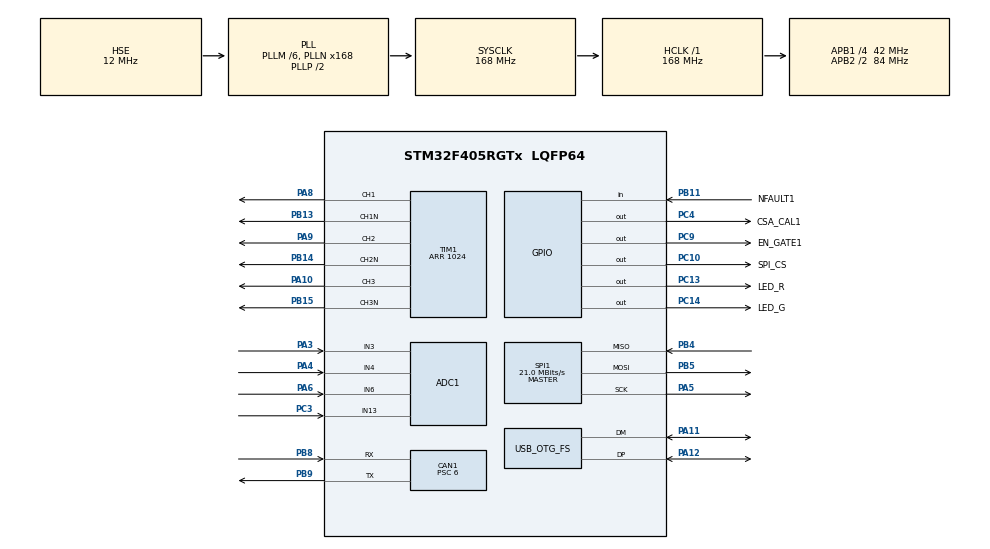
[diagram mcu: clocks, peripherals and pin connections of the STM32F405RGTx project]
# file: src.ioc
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ADC1.Channel-0\#ChannelRegularConversion=ADC_CHANNEL_13
ADC1.Channel-1\#ChannelInjectedConversion=ADC_CHANNEL_13
ADC1.Channel-2\#ChannelInjectedConversion=ADC_CHANNEL_3
ADC1.Channel-3\#ChannelInjectedConversion=ADC_CHANNEL_4
ADC1.Channel-4\#ChannelInjectedConversion=ADC_CHANNEL_6
ADC1.ExternalTrigInjecConv=ADC_EXTERNALTRIGINJECCONV_T1_CC4
ADC1.ExternalTrigInjecConvEdge=ADC_EXTERNALTRIGINJECCONVEDGE_FALLING
ADC1.InjNumberOfConversion=4
ADC1.InjectedOffset-1\#ChannelInjectedConversion=0
ADC1.InjectedOffset-2\#ChannelInjectedConversion=0
ADC1.InjectedOffset-3\#ChannelInjectedConversion=0
ADC1.InjectedOffset-4\#ChannelInjectedConversion=0
ADC1.InjectedRank-1\#ChannelInjectedConversion=1
ADC1.InjectedRank-2\#ChannelInjectedConversion=2
ADC1.InjectedRank-3\#ChannelInjectedConversion=3
ADC1.InjectedRank-4\#ChannelInjectedConversion=4
ADC1.NbrOfConversionFlag=1
ADC1.Rank-0\#ChannelRegularConversion=1
ADC1.SamplingTime-0\#ChannelRegularConversion=ADC_SAMPLETIME_3CYCLES
ADC1.SamplingTime-1\#ChannelInjectedConversion=ADC_SAMPLETIME_28CYCLES
ADC1.SamplingTime-2\#ChannelInjectedConversion=ADC_SAMPLETIME_28CYCLES
ADC1.SamplingTime-3\#ChannelInjectedConversion=ADC_SAMPLETIME_28CYCLES
ADC1.SamplingTime-4\#ChannelInjectedConversion=ADC_SAMPLETIME_28CYCLES
ADC1.ScanConvMode=ENABLE
ADC1.master=1
CAN1.BS1=CAN_BS1_8TQ
CAN1.BS2=CAN_BS2_5TQ
CAN1.CalculateBaudRate=500000
CAN1.CalculateTimeBit=2000
CAN1.CalculateTimeQuantum=142.85714285714286
CAN1.NART=ENABLE
CAN1.Prescaler=6
CAN1.SJW=CAN_SJW_2TQ
Dma.Request0=SPI1_TX
Dma.Request1=SPI1_RX
Dma.SPI1_RX.1.Direction=DMA_PERIPH_TO_MEMORY
Dma.SPI1_RX.1.FIFOMode=DMA_FIFOMODE_DISABLE
Dma.SPI1_RX.1.Instance=DMA2_Stream0
Dma.SPI1_RX.1.MemDataAlignment=DMA_MDATAALIGN_BYTE
Dma.SPI1_RX.1.MemInc=DMA_MINC_ENABLE
Dma.SPI1_RX.1.Mode=DMA_NORMAL
Dma.SPI1_RX.1.PeriphDataAlignment=DMA_PDATAALIGN_BYTE
Dma.SPI1_RX.1.PeriphInc=DMA_PINC_DISABLE
Dma.SPI1_RX.1.Priority=DMA_PRIORITY_HIGH
Dma.SPI1_TX.0.Direction=DMA_MEMORY_TO_PERIPH
Dma.SPI1_TX.0.FIFOMode=DMA_FIFOMODE_DISABLE
Dma.SPI1_TX.0.Instance=DMA2_Stream3
Dma.SPI1_TX.0.MemDataAlignment=DMA_MDATAALIGN_BYTE
Dma.SPI1_TX.0.MemInc=DMA_MINC_ENABLE
Dma.SPI1_TX.0.Mode=DMA_NORMAL
Dma.SPI1_TX.0.PeriphDataAlignment=DMA_PDATAALIGN_BYTE
Dma.SPI1_TX.0.PeriphInc=DMA_PINC_DISABLE
Dma.SPI1_TX.0.Priority=DMA_PRIORITY_HIGH
Mcu.Family=STM32F4
Mcu.Name=STM32F405RGTx
Mcu.Package=LQFP64
NVIC.ADC_IRQn=true\:0\:0\:false\:false\:true\:true\:true\:true
NVIC.CAN1_RX0_IRQn=true\:2\:0\:true\:false\:true\:true\:true\:true
NVIC.CAN1_RX1_IRQn=true\:2\:0\:true\:false\:true\:true\:true\:true
NVIC.DMA2_Stream0_IRQn=true\:0\:0\:false\:false\:true\:false\:true\:true
NVIC.DMA2_Stream3_IRQn=true\:0\:0\:false\:false\:true\:false\:true\:true
NVIC.OTG_FS_IRQn=true\:0\:0\:false\:false\:true\:false\:true\:true
NVIC.PriorityGroup=NVIC_PRIORITYGROUP_4
NVIC.SPI1_IRQn=true\:1\:0\:true\:false\:true\:true\:true\:true
PA10.Signal=S_TIM1_CH3
PA11.Mode=Device_Only
PA11.Signal=USB_OTG_FS_DM
PA12.Mode=Device_Only
PA12.Signal=USB_OTG_FS_DP
PA13.Mode=Serial_Wire
PA13.Signal=SYS_JTMS-SWDIO
PA14.Mode=Serial_Wire
PA14.Signal=SYS_JTCK-SWCLK
PA3.Signal=ADCx_IN3
PA4.Signal=ADCx_IN4
PA5.Mode=Full_Duplex_Master
PA5.Signal=SPI1_SCK
PA6.Signal=ADCx_IN6
PA8.Signal=S_TIM1_CH1
PA9.Signal=S_TIM1_CH2
PB11.GPIO_Label=NFAULT1
PB11.Signal=GPIO_Input
PB13.Mode=PWM Generation1 CH1 CH1N
PB13.Signal=TIM1_CH1N
PB14.Mode=PWM Generation2 CH2 CH2N
PB14.Signal=TIM1_CH2N
PB15.Mode=PWM Generation3 CH3 CH3N
PB15.Signal=TIM1_CH3N
PB4.Mode=Full_Duplex_Master
PB4.Signal=SPI1_MISO
PB5.Mode=Full_Duplex_Master
PB5.Signal=SPI1_MOSI
PB8.GPIO_PuPd=GPIO_PULLUP
PB8.Mode=CAN_Activate
PB8.Signal=CAN1_RX
PB9.Mode=CAN_Activate
PB9.Signal=CAN1_TX
PC10.GPIO_Label=SPI_CS
PC10.Signal=GPIO_Output
PC13-ANTI_TAMP.GPIO_Label=LED_R
PC13-ANTI_TAMP.Signal=GPIO_Output
PC14-OSC32_IN.GPIO_Label=LED_G
PC14-OSC32_IN.Signal=GPIO_Output
PC3.Signal=ADCx_IN13
PC4.GPIO_Label=CSA_CAL1
PC4.Signal=GPIO_Output
PC9.GPIO_Label=EN_GATE1
PC9.Signal=GPIO_Output
PH0-OSC_IN.Mode=HSE-External-Oscillator
PH0-OSC_IN.Signal=RCC_OSC_IN
PH1-OSC_OUT.Mode=HSE-External-Oscillator
PH1-OSC_OUT.Signal=RCC_OSC_OUT
ProjectManager.HeapSize=0x200
ProjectManager.StackSize=0x400
ProjectManager.TargetToolchain=EWARM V8.50
RCC.48MHZClocksFreq_Value=48000000
RCC.AHBFreq_Value=168000000
RCC.APB1CLKDivider=RCC_HCLK_DIV4
RCC.APB1Freq_Value=42000000
RCC.APB1TimFreq_Value=84000000
RCC.APB2CLKDivider=RCC_HCLK_DIV2
RCC.APB2Freq_Value=84000000
RCC.APB2TimFreq_Value=168000000
RCC.CortexFreq_Value=168000000
RCC.HCLKFreq_Value=168000000
RCC.HSE_VALUE=12000000
RCC.HSI_VALUE=16000000
RCC.LSE_VALUE=32768
RCC.PLLM=6
RCC.PLLN=168
RCC.PLLQ=7
RCC.SYSCLKFreq_VALUE=168000000
RCC.SYSCLKSource=RCC_SYSCLKSOURCE_PLLCLK
RCC.VCOOutputFreq_Value=336000000
SH.ADCx_IN13.0=ADC1_IN13,IN13
SH.ADCx_IN3.0=ADC1_IN3,IN3
SH.ADCx_IN4.0=ADC1_IN4,IN4
SH.ADCx_IN6.0=ADC1_IN6,IN6
SH.S_TIM1_CH1.0=TIM1_CH1,PWM Generation1 CH1 CH1N
SH.S_TIM1_CH2.0=TIM1_CH2,PWM Generation2 CH2 CH2N
SH.S_TIM1_CH3.0=TIM1_CH3,PWM Generation3 CH3 CH3N
SPI1.BaudRatePrescaler=SPI_BAUDRATEPRESCALER_4
SPI1.CLKPhase=SPI_PHASE_2EDGE
SPI1.CalculateBaudRate=21.0 MBits/s
SPI1.Direction=SPI_DIRECTION_2LINES
SPI1.Mode=SPI_MODE_MASTER
SPI1.VirtualType=VM_MASTER
TIM1.AutomaticOutput=TIM_AUTOMATICOUTPUT_ENABLE
TIM1.Channel-PWM\ Generation1\ CH1\ CH1N=TIM_CHANNEL_1
TIM1.Channel-PWM\ Generation2\ CH2\ CH2N=TIM_CHANNEL_2
TIM1.Channel-PWM\ Generation3\ CH3\ CH3N=TIM_CHANNEL_3
TIM1.Channel-PWM\ Generation4\ No\ Output=TIM_CHANNEL_4
TIM1.CounterMode=TIM_COUNTERMODE_CENTERALIGNED1
TIM1.DeadTime=25
TIM1.OCFastMode_PWM-PWM\ Generation1\ CH1\ CH1N=TIM_OCFAST_ENABLE
TIM1.OCFastMode_PWM-PWM\ Generation2\ CH2\ CH2N=TIM_OCFAST_ENABLE
TIM1.OCFastMode_PWM-PWM\ Generation3\ CH3\ CH3N=TIM_OCFAST_ENABLE
TIM1.OCFastMode_PWM-PWM\ Generation4\ No\ Output=TIM_OCFAST_ENABLE
TIM1.OffStateIDLEMode=TIM_OSSI_ENABLE
TIM1.OffStateRunMode=TIM_OSSR_ENABLE
TIM1.Period=1024
TIM1.TIM_MasterOutputTrigger=TIM_TRGO_UPDATE
USB_DEVICE.CLASS_NAME_FS=CDC
USB_DEVICE.VirtualMode-CDC_FS=Cdc
USB_DEVICE.VirtualModeFS=Cdc_FS
USB_OTG_FS.VirtualMode=Device_Only
VP_TIM1_VS_ClockSourceINT.Mode=Internal
VP_TIM1_VS_no_output4.Mode=PWM Generation4 No Output
VP_USB_DEVICE_VS_USB_DEVICE_CDC_FS.Mode=CDC_FS
board=custom

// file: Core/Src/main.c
/* USER CODE BEGIN Header */
/**
  ******************************************************************************
  * @file           : main.c
  * @brief          : Main program body
  ******************************************************************************
  * @attention
  *
  * Copyright (c) 2026 STMicroelectronics.
  * All rights reserved.
  *
  * This software is licensed under terms that can be found in the LICENSE file
  * in the root directory of this software component.
  * If no LICENSE file comes with this software, it is provided AS-IS.
  *
  ******************************************************************************
  */
/* USER CODE END Header */
#include "main.h"
#include "usb_device.h"

/* USER CODE BEGIN Includes */
#include "stm32f405_link.h"
#include "CAN.h"
#include "motor.h"
#include "AS5047P.h"
#include "FOC_utils.h"
#include "self_commissioning.h"
#include "storage.h"
#include "com.h"
#include "string.h"
/* USER CODE END Includes */

/* USER CODE BEGIN PD */

#define usb_print(fmt, ...)                                                 \
  do {                                                                      \
    snprintf(usb_send_buff, sizeof(usb_send_buff), fmt, ##__VA_ARGS__);     \
    CDC_Transmit_FS((uint8_t *)(usb_send_buff), sizeof(usb_send_buff) - 1); \
  } while (0)

/* USER CODE END PD */

/* USER CODE BEGIN PM */
extern uint8_t CDC_Transmit_FS(uint8_t* Buf, uint16_t Len);
/* USER CODE END PM */

ADC_HandleTypeDef hadc1;

CAN_HandleTypeDef hcan1;

SPI_HandleTypeDef hspi1;
DMA_HandleTypeDef hdma_spi1_tx;
DMA_HandleTypeDef hdma_spi1_rx;

TIM_HandleTypeDef htim1;

/* USER CODE BEGIN PV */

AS5047P_t hencd1;
uint32_t adc_buff[4];
foc_t hfoc1;
self_commissioning_t hsc1;
storage_t hstorage1;
com_t husb_com;
com_t hcan_com;
can_protocol_t can_motor;

char usb_send_buff[64];
uint8_t can_send_buff[64];
uint8_t can_recv_buff[64];

/* USER CODE END PV */

void SystemClock_Config(void);
static void MX_GPIO_Init(void);
static void MX_DMA_Init(void);
static void MX_TIM1_Init(void);
static void MX_ADC1_Init(void);
static void MX_SPI1_Init(void);
static void MX_CAN1_Init(void);

/* USER CODE BEGIN 0 */

/**************************************************************************** */
// implementation

void motor1_inverter_enable(void) {
  EN_GATE1_GPIO_Port->BSRR = EN_GATE1_Pin;
  link_enable_pwm(&htim1);
  link_enable_adc(&hadc1);
}

void motor1_inverter_disable(void) {
  EN_GATE1_GPIO_Port->BSRR = EN_GATE1_Pin<<16;
  link_disable_pwm(&htim1);
  link_disable_adc(&hadc1);
}

uint32_t motor1_get_pwm_res(void) {
  return link_get_max_pwm(&htim1);
}

float motor1_as5047p_get_mech_deg(void) {
  return AS5047P_get_degree(&hencd1);
}

int motor1_as5047p_spi_transmit(uint8_t *tx, uint8_t *rx, uint16_t len) {
  if (HAL_SPI_TransmitReceive_DMA(&hspi1, tx, rx, len) == HAL_OK) return 0;
  return -1;
}

void motor1_as5047p_spi_cs(_Bool cs_state) {
  if (cs_state) SPI_CS_GPIO_Port->BSRR = SPI_CS_Pin;
  else SPI_CS_GPIO_Port->BSRR = SPI_CS_Pin<<16;
}

int write_flash(void *data, uint32_t len) {
  return link_write_flash(data, len);
}

int read_flash(void *data, uint32_t len) {
  memcpy(data, (void*)FLASH_SECTOR_ADDR, len);
  return 0;
}

int usb_recv_data(uint8_t *data, uint16_t len) {
  (void)data;
  (void)len;
  return 0;
}

int usb_send_data(uint8_t *data, uint16_t len) {
  if (CDC_Transmit_FS(data, len) != USBD_OK) return -1;
  return 0;
}

int can_recv_data(uint8_t *data, uint16_t len) {
  (void)data;
  (void)len;
  return 0;
}

int can_send_data(uint8_t *data, uint16_t len) {
#if USB_TO_CAN
  return can_motor_start_send_data(&can_motor, 0x02, data, len);
#else
  return can_motor_start_send_data(&can_motor, 0x01, data, len);
#endif
}

/**************************************************************************** */

static void init_motor(void) {
  motor_init_pwm(&hfoc1.motor, &TIM1->CCR1, &TIM1->CCR2, &TIM1->CCR3);
  motor_init_adc_current_sense(&hfoc1.motor, &adc_buff[0], &adc_buff[1], &adc_buff[2]);
  motor_init_adc_power_voltage_sense(&hfoc1.motor, &adc_buff[3]);
  motor_set_current_sense_gain(&hfoc1.motor, (3.3f / 4095.0f) / (0.01f * 20.0f));
  motor_set_power_voltage_sense_gain(&hfoc1.motor, (3.3f / 4095.0f)*((39.0f + 2.2f) / 2.2f));
  motor_init_lpf_power_voltage_sense(&hfoc1.motor, 100, BLDC_PWM_FREQ);
  CSA_CAL1_GPIO_Port->BSRR = CSA_CAL1_Pin << 16;
}

static void init_encoder(void) {
  AS5047P_spi_config(&hencd1, motor1_as5047p_spi_transmit, motor1_as5047p_spi_cs);
  AS5047P_init(&hencd1, SENSOR_DIR_REVERSE, (360.0f / 16383.0f));
  AS5047P_set_angle_filter_fc(&hencd1, 1000.0f, FOC_TS);
  AS5047P_set_rpm_filter_fc(&hencd1, 50.0f, FOC_TS);
}

static void init_foc(void) {
  can_config_t can_config = {
    .init = link_can_init,
    .send_data = link_can_send_data,
    .recv_data = link_can_recv_data,
    .is_mailboxes_free = link_can_is_mailboxes_free,
    .get_tick_ms = HAL_GetTick
  };
  can_motor_init(&can_motor, can_config, can_send_buff, can_recv_buff);
#if USB_TO_CAN
  com_init(&husb_com, usb_recv_data, usb_send_data, HAL_GetTick, &hfoc1, &hstorage1, &hsc1);
  com_init(&hcan_com, can_recv_data, can_send_data, HAL_GetTick, &hfoc1, &hstorage1, &hsc1);
#else
  init_trig_lut();
  link_set_pwm_freq(&htim1, BLDC_PWM_FREQ);
  init_motor();
  init_encoder();
  sc_init(&hsc1, &hfoc1);

  storage_init(&hstorage1, write_flash, read_flash);
  foc_inverter_init(&hfoc1, motor1_inverter_enable, motor1_inverter_disable, motor1_get_pwm_res);
  foc_feedback_sensor_init(&hfoc1, motor1_as5047p_get_mech_deg, hstorage1.memory.encoder_config.error_comp_deg, NORMAL_DIR);
  foc_speed_feedback_sensor_init(&hfoc1, 600.0f, 1.0f/SPEED_TS);
  com_init(&husb_com, usb_recv_data, usb_send_data, HAL_GetTick, &hfoc1, &hstorage1, &hsc1);
  com_init(&hcan_com, can_recv_data, can_send_data, HAL_GetTick, &hfoc1, &hstorage1, &hsc1);

  storage_read_config(&hstorage1);
  storage_copy_to_local(&hstorage1, &hfoc1);

  // Id PI parameter
  pid_reset(&hfoc1.id_ctrl);
  pid_set_ts(&hfoc1.id_ctrl, FOC_TS);
  // Id PI parameter
  pid_reset(&hfoc1.iq_ctrl);
  pid_set_ts(&hfoc1.iq_ctrl, FOC_TS);
  // Speed PID parameter
  pid_reset(&hfoc1.speed_ctrl);
  pid_set_ts(&hfoc1.speed_ctrl, SPEED_TS);
  pid_set_kd(&hfoc1.speed_ctrl, 0);
  pid_set_d_filter_fc(&hfoc1.speed_ctrl, 100.0f);
  pid_set_max_d(&hfoc1.speed_ctrl, 10.0f);
  // Position PID parameter
  pid_reset(&hfoc1.pos_ctrl);
  pid_set_ts(&hfoc1.pos_ctrl, POSITION_TS);
  pid_set_d_filter_fc(&hfoc1.pos_ctrl, 20.0f);
  pid_set_max_d(&hfoc1.pos_ctrl, 100.0f);
  // field weakening
  pid_reset(&hfoc1.fw_ctrl);
  pid_set_ts(&hfoc1.fw_ctrl, FOC_TS);

  // foc_motor_init(&hfoc1, hstorage1.memory.motor_config.pole_pairs, 360.0f);
  // foc_set_mode(&hfoc1, FOC_MODE_SENSORED);
  foc_sensorless_init(&hfoc1, BLDC_PWM_FREQ);

  foc_gear_reducer_init(&hfoc1, 1.0f);
  foc_set_limit_current(&hfoc1, 10.0f);

  foc_enable(&hfoc1);
#endif
}

static void indicator_update(void) {
  static uint32_t heartbeat_tick = 0;
  if (HAL_GetTick() - heartbeat_tick >= 500) {
    heartbeat_tick = HAL_GetTick();
    HAL_GPIO_TogglePin(LED_G_GPIO_Port, LED_G_Pin);
  }
  if (HAL_GPIO_ReadPin(NFAULT1_GPIO_Port, NFAULT1_Pin)) {
    LED_R_GPIO_Port->BSRR = LED_R_Pin<<16;
  }
  else {
    LED_R_GPIO_Port->BSRR = LED_R_Pin;
  }
}

static void self_commissioning_update(void) {
  if (sc_is_measure_done(&hsc1)) {
    switch(sc_get_seq(&hsc1)) {
      case SC_SEQUENCE_START_MEASURE_RS:
        foc_set_motor_Rs(&hfoc1, sc_get_Rs(&hsc1));
        break;
      case SC_SEQUENCE_START_MEASURE_LD:
        foc_set_motor_Ld(&hfoc1, sc_get_Ld(&hsc1));
        break;
      case SC_SEQUENCE_START_MEASURE_LQ:
        foc_set_motor_Lq(&hfoc1, sc_get_Lq(&hsc1));
        break;
      case SC_SEQUENCE_START_CALIBRATE_ABS_ENCODER:
        break;
    }
  }
}

void usb_to_can_update(void) {
  if (husb_com.incomming_data_flag) {
    husb_com.incomming_data_flag = 0;
    hcan_com.send_data(husb_com.data_rx, husb_com.data_rx_len);
  }
  if (hcan_com.incomming_data_flag) {
    hcan_com.incomming_data_flag = 0;
    husb_com.send_data(hcan_com.data_rx, hcan_com.data_rx_len);
  }
}

/**************************************************************************** */

void HAL_SPI_TxRxCpltCallback(SPI_HandleTypeDef *hspi) {
	if (hspi->Instance == SPI1) {
    AS5047P_set_spi_transfer_done(&hencd1);
	}
}

void HAL_ADCEx_InjectedConvCpltCallback(ADC_HandleTypeDef* hadc) {
	if (hadc->Instance == ADC1) {
    adc_buff[0] = ADC1->JDR1; // current sense A
    adc_buff[1] = ADC1->JDR2; // current sense B
    adc_buff[2] = ADC1->JDR3; // current sense C
    adc_buff[3] = ADC1->JDR4; // power voltage sense
    motor_calculate_power_voltage(&hfoc1.motor);
    motor_get_power_voltage(&hfoc1.motor, &hfoc1.v_bus);
    sc_update(&hsc1, FOC_TS);
    foc_update(&hfoc1, FOC_TS);
  }
}

// CAN RX FIFO 0 Callback
void HAL_CAN_RxFifo0MsgPendingCallback(CAN_HandleTypeDef *hcan){
  can_motor_recv_chunked_frame(&can_motor);
}

/**************************************************************************** */

/* USER CODE END 0 */

int main(void)
{

  /* MCU Configuration--------------------------------------------------------*/

  /* Reset of all peripherals, Initializes the Flash interface and the Systick. */
  HAL_Init();

  /* Configure the system clock */
  SystemClock_Config();

  /* Initialize all configured peripherals */
  MX_GPIO_Init();
  MX_DMA_Init();
  MX_USB_DEVICE_Init();
  MX_TIM1_Init();
  MX_ADC1_Init();
  MX_SPI1_Init();
  MX_CAN1_Init();
  /* USER CODE BEGIN 2 */

#if (__FPU_PRESENT == 1) && (__FPU_USED == 1)
  printf("FPU aktif!\n");
#else
  printf("FPU tidak aktif!\n");
#endif

  init_foc();
  // uint32_t tick = HAL_GetTick();

  /* USER CODE END 2 */

  /* Infinite loop */
  /* USER CODE BEGIN WHILE */
  while (1)
  {
    indicator_update();
    can_motor_send_frame_update(&can_motor);
    if (can_motor_recv_frame_update(&can_motor) == 0) {
      hcan_com.data_rx = can_motor.rx_frame.data;
      hcan_com.data_rx_len = can_motor.rx_frame.total_data_length;
      hcan_com.incomming_data_flag = 1;
    }
#if USB_TO_CAN
    usb_to_can_update();
#else
    AS5047P_update(&hencd1);
    com_update(&husb_com);
    com_update(&hcan_com);
    self_commissioning_update();
#endif
    /* USER CODE END WHILE */

  }
}

void SystemClock_Config(void)
{
  RCC_OscInitTypeDef RCC_OscInitStruct = {0};
  RCC_ClkInitTypeDef RCC_ClkInitStruct = {0};

  /** Configure the main internal regulator output voltage
  */
  __HAL_RCC_PWR_CLK_ENABLE();
  __HAL_PWR_VOLTAGESCALING_CONFIG(PWR_REGULATOR_VOLTAGE_SCALE1);

  /** Initializes the RCC Oscillators according to the specified parameters
  * in the RCC_OscInitTypeDef structure.
  */
  RCC_OscInitStruct.OscillatorType = RCC_OSCILLATORTYPE_HSE;
  RCC_OscInitStruct.HSEState = RCC_HSE_ON;
  RCC_OscInitStruct.PLL.PLLState = RCC_PLL_ON;
  RCC_OscInitStruct.PLL.PLLSource = RCC_PLLSOURCE_HSE;
  RCC_OscInitStruct.PLL.PLLM = 6;
  RCC_OscInitStruct.PLL.PLLN = 168;
  RCC_OscInitStruct.PLL.PLLP = RCC_PLLP_DIV2;
  RCC_OscInitStruct.PLL.PLLQ = 7;
  if (HAL_RCC_OscConfig(&RCC_OscInitStruct) != HAL_OK)
  {
    Error_Handler();
  }

  /** Initializes the CPU, AHB and APB buses clocks
  */
  RCC_ClkInitStruct.ClockType = RCC_CLOCKTYPE_HCLK|RCC_CLOCKTYPE_SYSCLK
                              |RCC_CLOCKTYPE_PCLK1|RCC_CLOCKTYPE_PCLK2;
  RCC_ClkInitStruct.SYSCLKSource = RCC_SYSCLKSOURCE_PLLCLK;
  RCC_ClkInitStruct.AHBCLKDivider = RCC_SYSCLK_DIV1;
  RCC_ClkInitStruct.APB1CLKDivider = RCC_HCLK_DIV4;
  RCC_ClkInitStruct.APB2CLKDivider = RCC_HCLK_DIV2;

  if (HAL_RCC_ClockConfig(&RCC_ClkInitStruct, FLASH_LATENCY_5) != HAL_OK)
  {
    Error_Handler();
  }
}

static void MX_ADC1_Init(void)
{

  ADC_ChannelConfTypeDef sConfig = {0};
  ADC_InjectionConfTypeDef sConfigInjected = {0};

  /** Configure the global features of the ADC (Clock, Resolution, Data Alignment and number of conversion)
  */
  hadc1.Instance = ADC1;
  hadc1.Init.ClockPrescaler = ADC_CLOCK_SYNC_PCLK_DIV4;
  hadc1.Init.Resolution = ADC_RESOLUTION_12B;
  hadc1.Init.ScanConvMode = ENABLE;
  hadc1.Init.ContinuousConvMode = DISABLE;
  hadc1.Init.DiscontinuousConvMode = DISABLE;
  hadc1.Init.ExternalTrigConvEdge = ADC_EXTERNALTRIGCONVEDGE_NONE;
  hadc1.Init.ExternalTrigConv = ADC_SOFTWARE_START;
  hadc1.Init.DataAlign = ADC_DATAALIGN_RIGHT;
  hadc1.Init.NbrOfConversion = 1;
  hadc1.Init.DMAContinuousRequests = DISABLE;
  hadc1.Init.EOCSelection = ADC_EOC_SINGLE_CONV;
  if (HAL_ADC_Init(&hadc1) != HAL_OK)
  {
    Error_Handler();
  }

  /** Configure for the selected ADC regular channel its corresponding rank in the sequencer and its sample time.
  */
  sConfig.Channel = ADC_CHANNEL_13;
  sConfig.Rank = 1;
  sConfig.SamplingTime = ADC_SAMPLETIME_3CYCLES;
  if (HAL_ADC_ConfigChannel(&hadc1, &sConfig) != HAL_OK)
  {
    Error_Handler();
  }

  /** Configures for the selected ADC injected channel its corresponding rank in the sequencer and its sample time
  */
  sConfigInjected.InjectedChannel = ADC_CHANNEL_13;
  sConfigInjected.InjectedRank = 1;
  sConfigInjected.InjectedNbrOfConversion = 4;
  sConfigInjected.InjectedSamplingTime = ADC_SAMPLETIME_28CYCLES;
  sConfigInjected.ExternalTrigInjecConvEdge = ADC_EXTERNALTRIGINJECCONVEDGE_FALLING;
  sConfigInjected.ExternalTrigInjecConv = ADC_EXTERNALTRIGINJECCONV_T1_CC4;
  sConfigInjected.AutoInjectedConv = DISABLE;
  sConfigInjected.InjectedDiscontinuousConvMode = DISABLE;
  sConfigInjected.InjectedOffset = 0;
  if (HAL_ADCEx_InjectedConfigChannel(&hadc1, &sConfigInjected) != HAL_OK)
  {
    Error_Handler();
  }

  /** Configures for the selected ADC injected channel its corresponding rank in the sequencer and its sample time
  */
  sConfigInjected.InjectedChannel = ADC_CHANNEL_3;
  sConfigInjected.InjectedRank = 2;
  if (HAL_ADCEx_InjectedConfigChannel(&hadc1, &sConfigInjected) != HAL_OK)
  {
    Error_Handler();
  }

  /** Configures for the selected ADC injected channel its corresponding rank in the sequencer and its sample time
  */
  sConfigInjected.InjectedChannel = ADC_CHANNEL_4;
  sConfigInjected.InjectedRank = 3;
  if (HAL_ADCEx_InjectedConfigChannel(&hadc1, &sConfigInjected) != HAL_OK)
  {
    Error_Handler();
  }

  /** Configures for the selected ADC injected channel its corresponding rank in the sequencer and its sample time
  */
  sConfigInjected.InjectedChannel = ADC_CHANNEL_6;
  sConfigInjected.InjectedRank = 4;
  if (HAL_ADCEx_InjectedConfigChannel(&hadc1, &sConfigInjected) != HAL_OK)
  {
    Error_Handler();
  }

}

static void MX_CAN1_Init(void)
{

  hcan1.Instance = CAN1;
  hcan1.Init.Prescaler = 6;
  hcan1.Init.Mode = CAN_MODE_NORMAL;
  hcan1.Init.SyncJumpWidth = CAN_SJW_2TQ;
  hcan1.Init.TimeSeg1 = CAN_BS1_8TQ;
  hcan1.Init.TimeSeg2 = CAN_BS2_5TQ;
  hcan1.Init.TimeTriggeredMode = DISABLE;
  hcan1.Init.AutoBusOff = DISABLE;
  hcan1.Init.AutoWakeUp = DISABLE;
  hcan1.Init.AutoRetransmission = ENABLE;
  hcan1.Init.ReceiveFifoLocked = DISABLE;
  hcan1.Init.TransmitFifoPriority = DISABLE;
  if (HAL_CAN_Init(&hcan1) != HAL_OK)
  {
    Error_Handler();
  }

}

static void MX_SPI1_Init(void)
{

  /* SPI1 parameter configuration*/
  hspi1.Instance = SPI1;
  hspi1.Init.Mode = SPI_MODE_MASTER;
  hspi1.Init.Direction = SPI_DIRECTION_2LINES;
  hspi1.Init.DataSize = SPI_DATASIZE_8BIT;
  hspi1.Init.CLKPolarity = SPI_POLARITY_LOW;
  hspi1.Init.CLKPhase = SPI_PHASE_2EDGE;
  hspi1.Init.NSS = SPI_NSS_SOFT;
  hspi1.Init.BaudRatePrescaler = SPI_BAUDRATEPRESCALER_4;
  hspi1.Init.FirstBit = SPI_FIRSTBIT_MSB;
  hspi1.Init.TIMode = SPI_TIMODE_DISABLE;
  hspi1.Init.CRCCalculation = SPI_CRCCALCULATION_DISABLE;
  hspi1.Init.CRCPolynomial = 10;
  if (HAL_SPI_Init(&hspi1) != HAL_OK)
  {
    Error_Handler();
  }

}

static void MX_TIM1_Init(void)
{

  TIM_ClockConfigTypeDef sClockSourceConfig = {0};
  TIM_MasterConfigTypeDef sMasterConfig = {0};
  TIM_OC_InitTypeDef sConfigOC = {0};
  TIM_BreakDeadTimeConfigTypeDef sBreakDeadTimeConfig = {0};

  htim1.Instance = TIM1;
  htim1.Init.Prescaler = 0;
  htim1.Init.CounterMode = TIM_COUNTERMODE_CENTERALIGNED1;
  htim1.Init.Period = 1024;
  htim1.Init.ClockDivision = TIM_CLOCKDIVISION_DIV1;
  htim1.Init.RepetitionCounter = 0;
  htim1.Init.AutoReloadPreload = TIM_AUTORELOAD_PRELOAD_DISABLE;
  if (HAL_TIM_Base_Init(&htim1) != HAL_OK)
  {
    Error_Handler();
  }
  sClockSourceConfig.ClockSource = TIM_CLOCKSOURCE_INTERNAL;
  if (HAL_TIM_ConfigClockSource(&htim1, &sClockSourceConfig) != HAL_OK)
  {
    Error_Handler();
  }
  if (HAL_TIM_PWM_Init(&htim1) != HAL_OK)
  {
    Error_Handler();
  }
  sMasterConfig.MasterOutputTrigger = TIM_TRGO_UPDATE;
  sMasterConfig.MasterSlaveMode = TIM_MASTERSLAVEMODE_DISABLE;
  if (HAL_TIMEx_MasterConfigSynchronization(&htim1, &sMasterConfig) != HAL_OK)
  {
    Error_Handler();
  }
  sConfigOC.OCMode = TIM_OCMODE_PWM1;
  sConfigOC.Pulse = 0;
  sConfigOC.OCPolarity = TIM_OCPOLARITY_HIGH;
  sConfigOC.OCNPolarity = TIM_OCNPOLARITY_HIGH;
  sConfigOC.OCFastMode = TIM_OCFAST_ENABLE;
  sConfigOC.OCIdleState = TIM_OCIDLESTATE_RESET;
  sConfigOC.OCNIdleState = TIM_OCNIDLESTATE_RESET;
  if (HAL_TIM_PWM_ConfigChannel(&htim1, &sConfigOC, TIM_CHANNEL_1) != HAL_OK)
  {
    Error_Handler();
  }
  if (HAL_TIM_PWM_ConfigChannel(&htim1, &sConfigOC, TIM_CHANNEL_2) != HAL_OK)
  {
    Error_Handler();
  }
  if (HAL_TIM_PWM_ConfigChannel(&htim1, &sConfigOC, TIM_CHANNEL_3) != HAL_OK)
  {
    Error_Handler();
  }
  if (HAL_TIM_PWM_ConfigChannel(&htim1, &sConfigOC, TIM_CHANNEL_4) != HAL_OK)
  {
    Error_Handler();
  }
  sBreakDeadTimeConfig.OffStateRunMode = TIM_OSSR_ENABLE;
  sBreakDeadTimeConfig.OffStateIDLEMode = TIM_OSSI_ENABLE;
  sBreakDeadTimeConfig.LockLevel = TIM_LOCKLEVEL_OFF;
  sBreakDeadTimeConfig.DeadTime = 25;
  sBreakDeadTimeConfig.BreakState = TIM_BREAK_DISABLE;
  sBreakDeadTimeConfig.BreakPolarity = TIM_BREAKPOLARITY_HIGH;
  sBreakDeadTimeConfig.AutomaticOutput = TIM_AUTOMATICOUTPUT_ENABLE;
  if (HAL_TIMEx_ConfigBreakDeadTime(&htim1, &sBreakDeadTimeConfig) != HAL_OK)
  {
    Error_Handler();
  }
  HAL_TIM_MspPostInit(&htim1);

}

static void MX_DMA_Init(void)
{

  /* DMA controller clock enable */
  __HAL_RCC_DMA2_CLK_ENABLE();

  /* DMA interrupt init */
  /* DMA2_Stream0_IRQn interrupt configuration */
  HAL_NVIC_SetPriority(DMA2_Stream0_IRQn, 0, 0);
  HAL_NVIC_EnableIRQ(DMA2_Stream0_IRQn);
  /* DMA2_Stream3_IRQn interrupt configuration */
  HAL_NVIC_SetPriority(DMA2_Stream3_IRQn, 0, 0);
  HAL_NVIC_EnableIRQ(DMA2_Stream3_IRQn);

}

static void MX_GPIO_Init(void)
{
  GPIO_InitTypeDef GPIO_InitStruct = {0};

  /* GPIO Ports Clock Enable */
  __HAL_RCC_GPIOC_CLK_ENABLE();
  __HAL_RCC_GPIOH_CLK_ENABLE();
  __HAL_RCC_GPIOA_CLK_ENABLE();
  __HAL_RCC_GPIOB_CLK_ENABLE();

  /*Configure GPIO pin Output Level */
  HAL_GPIO_WritePin(GPIOC, LED_R_Pin|LED_G_Pin|CSA_CAL1_Pin|EN_GATE1_Pin
                          |SPI_CS_Pin, GPIO_PIN_RESET);

  /*Configure GPIO pins : LED_R_Pin LED_G_Pin CSA_CAL1_Pin EN_GATE1_Pin
                           SPI_CS_Pin */
  GPIO_InitStruct.Pin = LED_R_Pin|LED_G_Pin|CSA_CAL1_Pin|EN_GATE1_Pin
                          |SPI_CS_Pin;
  GPIO_InitStruct.Mode = GPIO_MODE_OUTPUT_PP;
  GPIO_InitStruct.Pull = GPIO_NOPULL;
  GPIO_InitStruct.Speed = GPIO_SPEED_FREQ_LOW;
  HAL_GPIO_Init(GPIOC, &GPIO_InitStruct);

  /*Configure GPIO pin : NFAULT1_Pin */
  GPIO_InitStruct.Pin = NFAULT1_Pin;
  GPIO_InitStruct.Mode = GPIO_MODE_INPUT;
  GPIO_InitStruct.Pull = GPIO_NOPULL;
  HAL_GPIO_Init(NFAULT1_GPIO_Port, &GPIO_InitStruct);

}

void Error_Handler(void)
{
  __disable_irq();
  while (1)
  {
  }
}
